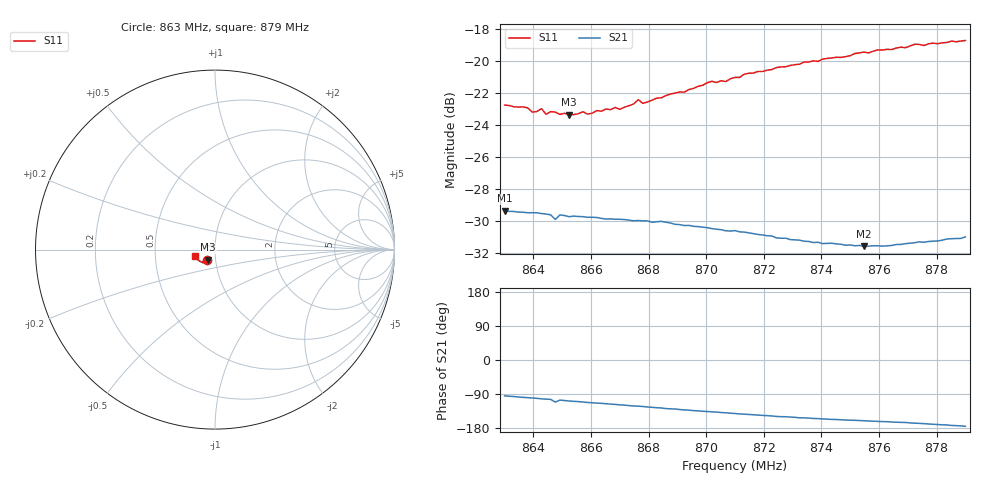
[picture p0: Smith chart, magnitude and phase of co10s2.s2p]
# HZ S RI R 50
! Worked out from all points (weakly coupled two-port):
!   101 points, 863 MHz to 879 MHz, reference 50 ohm
!   highest |S21| = -29.35 dB at 863 MHz (marker M1); lowest = -31.6 dB at 875.48 MHz (marker M2)
!   lowest |S11| = -23.4 dB at 865.24 MHz (marker M3), VSWR 1.15, Z = 46.1 - j5.23 ohm
!   |S11| at or under -10 dB: start of sweep to end of sweep
!   S12 and S22 are empty: the file has one direction only
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8.63e8  -0.046 -0.0564  -0.0027 -0.034  0 0  0 0
8.638e8  -0.0439 -0.0562  -0.0055 -0.0331  0 0  0 0
8.6396e8  -0.0417 -0.0552  -0.00584 -0.033  0 0  0 0
8.6428e8  -0.0414 -0.0575  -0.00725 -0.0326  0 0  0 0
8.6444e8  -0.0405 -0.0547  -0.00763 -0.0323  0 0  0 0
8.646e8  -0.0411 -0.0559  -0.00797 -0.0321  0 0  0 0
8.6476e8  -0.0393 -0.0569  -0.0115 -0.0298  0 0  0 0
8.6492e8  -0.039 -0.0558  -0.00899 -0.0318  0 0  0 0
8.6524e8  -0.0377 -0.0564  -0.0102 -0.031  0 0  0 0
8.6572e8  -0.0367 -0.0588  -0.0116 -0.0305  0 0  0 0
8.6588e8  -0.036 -0.0579  -0.0122 -0.0301  0 0  0 0
8.6684e8  -0.0362 -0.0617  -0.0146 -0.0285  0 0  0 0
8.67e8  -0.0359 -0.0607  -0.0152 -0.0282  0 0  0 0
8.6764e8  -0.038 -0.0654  -0.0167 -0.027  0 0  0 0
8.678e8  -0.0364 -0.064  -0.0171 -0.0266  0 0  0 0
8.6844e8  -0.0378 -0.0667  -0.0188 -0.0253  0 0  0 0
8.702e8  -0.0471 -0.0723  -0.0219 -0.0205  0 0  0 0
8.71e8  -0.0514 -0.0724  -0.023 -0.0185  0 0  0 0
8.7372e8  -0.0695 -0.0719  -0.0244 -0.0118  0 0  0 0
8.7548e8  -0.0837 -0.0658  -0.0248 -0.00891  0 0  0 0
8.7644e8  -0.091 -0.0589  -0.0255 -0.00743  0 0  0 0
8.79e8  -0.1095 -0.0375  -0.0281 -0.00248  0 0  0 0
